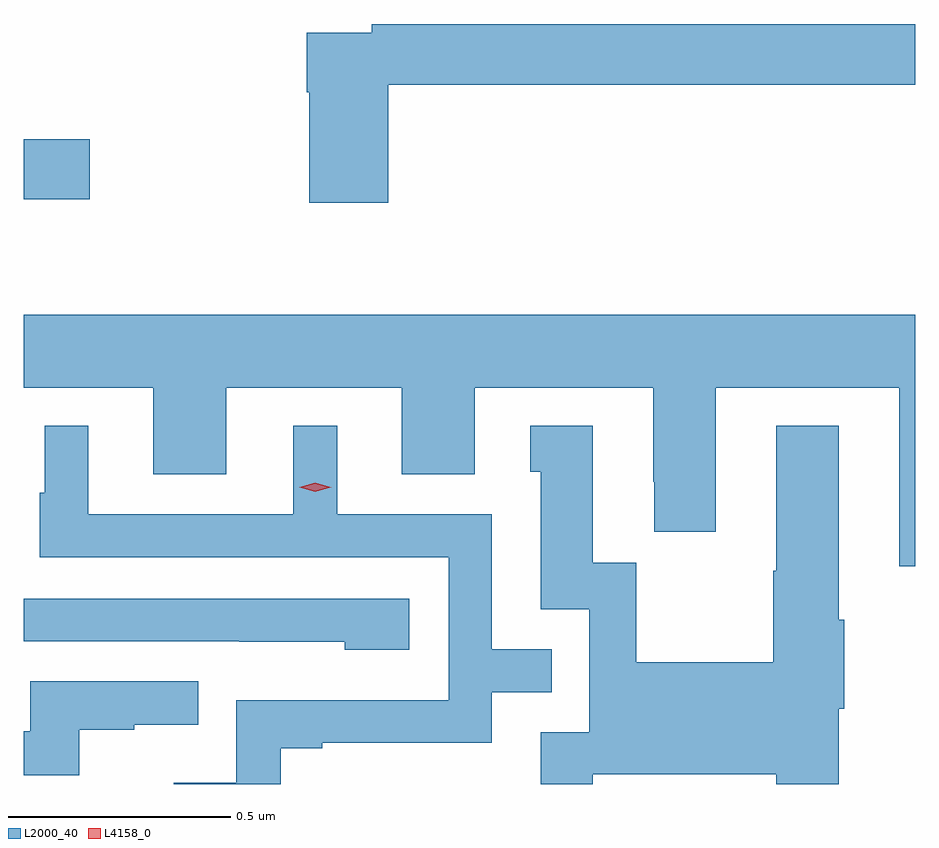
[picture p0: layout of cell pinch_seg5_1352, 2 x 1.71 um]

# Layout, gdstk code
import gdstk
lib = gdstk.Library(unit=1e-6, precision=1e-09)
def R(c, l, rs):  # rectangles x0, y0, x1, y1
    for r in rs: c.add(gdstk.rectangle(r[:2], r[2:], *l))
def P(c, l, *ps):  # polygons
    for p in ps: c.add(gdstk.Polygon(p, *l))
L2000_40 = (2000, 40)
L4158_0 = (4158, 0)

pinch_seg5_1352 = lib.new_cell('pinch_seg5_1352')
R(pinch_seg5_1352, L2000_40, [(531.219,847.859,531.367,847.994)])
P(pinch_seg5_1352, L2000_40, [(532.037,848.116),(533.219,848.116),(533.219,848.252),(532,848.252),(532,848.232),(531.854,848.232),(531.854,848.099),(531.859,848.099),(531.859,847.851),(532.037,847.851)],
  [(533.219,847.6),(531.219,847.6),(531.219,847.436),(531.509,847.436),(531.509,847.242),(531.673,847.242),(531.673,847.436),(532.067,847.436),(532.067,847.242),(532.231,847.242),(532.231,847.436),(532.631,847.436),(532.631,847.225),(532.634,847.225),(532.634,847.113),(532.771,847.113),(532.771,847.436),(533.183,847.436),(533.183,847.035),(533.219,847.035)],
  [(532.495,846.569),(532.907,846.569),(532.907,846.547),(533.047,846.547),(533.047,846.716),(533.06,846.716),(533.06,846.916),(533.047,846.916),(533.047,847.351),(532.907,847.351),(532.907,847.025),(532.9,847.025),(532.9,846.82),(532.593,846.82),(532.593,847.043),(532.495,847.043),(532.495,847.351),(532.355,847.351),(532.355,847.248),(532.379,847.248),(532.379,846.939),(532.488,846.939),(532.488,846.663),(532.379,846.663),(532.379,846.547),(532.495,846.547)],
  [(531.795,846.627),(531.889,846.627),(531.889,846.639),(532.269,846.639),(532.269,846.753),(532.403,846.753),(532.403,846.849),(532.269,846.849),(532.269,847.152),(531.922,847.152),(531.922,847.351),(531.824,847.351),(531.824,847.152),(531.364,847.152),(531.364,847.351),(531.266,847.351),(531.266,847.2),(531.255,847.2),(531.255,847.056),(532.173,847.056),(532.173,846.735),(531.696,846.735),(531.696,846.55),(531.555,846.55),(531.555,846.547),(531.795,846.547)],
  [(532.084,846.963),(531.219,846.963),(531.219,846.867),(531.703,846.867),(531.703,846.866),(531.939,846.866),(531.939,846.848),(532.084,846.848)],
  [(531.344,846.669),(531.467,846.669),(531.467,846.68),(531.611,846.68),(531.611,846.777),(531.234,846.777),(531.234,846.665),(531.219,846.665),(531.219,846.567),(531.344,846.567)])
P(pinch_seg5_1352, L4158_0, [(531.873,847.203),(531.837,847.213),(531.837,847.213),(531.837,847.213),(531.873,847.223),(531.908,847.213),(531.909,847.213),(531.908,847.213)])

lib.write_gds('pinch_seg5_1352.gds')
